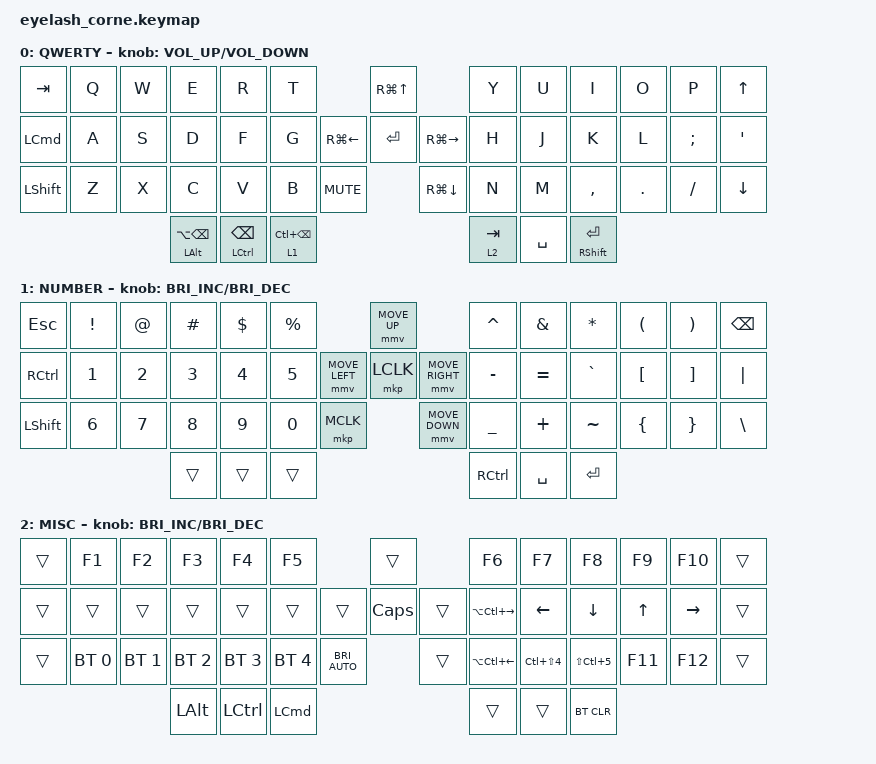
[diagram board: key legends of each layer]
#include <dt-bindings/zmk/mouse.h>
#include <input/processors.dtsi>
#include <behaviors.dtsi>
#include <dt-bindings/zmk/bt.h>
#include <dt-bindings/zmk/keys.h>
#include <dt-bindings/zmk/pointing.h>
#include <dt-bindings/zmk/rgb.h>

/*

   &mmv_input_listener {
       input-processors = <&zip_xy_scaler 2 1>;
   };

   &msc_input_listener {
       input-processors = <&zip_xy_scaler 2 1>;
   };

 */

#define ZMK_MOUSE_DEFAULT_MOVE_VAL 1200  // 600
#define ZMK_MOUSE_DEFAULT_SCRL_VAL 20    // 10

&lt { flavor = "hold-preferred"; };

};

/ {

behaviors {
    td0: td0 {
        compatible = "zmk,behavior-tap-dance";
        display-name = "Shift/Caps Lock Tap Dance";
        #binding-cells = <0>;
        bindings = <&kp LEFT_SHIFT>, <&kp CAPS>;
    };
};

rgb_encoder: rgb_encoder {
    compatible = "zmk,behavior-sensor-rotate";
    #sensor-binding-cells = <0>;
    bindings = <&rgb_ug RGB_BRI>, <&rgb_ug RGB_BRD>;
};

scroll_encoder: scroll_encoder {
    compatible = "zmk,behavior-sensor-rotate";
    #sensor-binding-cells = <0>;
    bindings = <&msc SCRL_DOWN>, <&msc SCRL_UP>;

    tap-ms = <30>;
};

keymap {
    compatible = "zmk,keymap";

    default_layer {
        display-name = "QWERTY";
        bindings = <
&kp TAB           &kp Q  &kp W  &kp E                       &kp R                &kp T                                            &kp RG(UP)                   &kp Y      &kp U      &kp I                &kp O    &kp P     &kp UP_ARROW
&kp LEFT_COMMAND  &kp A  &kp S  &kp D                       &kp F                &kp G                              &kp RG(LEFT)  &kp ENTER     &kp RG(RIGHT)  &kp H      &kp J      &kp K                &kp L    &kp SEMI  &kp SQT
&kp LEFT_SHIFT    &kp Z  &kp X  &kp C                       &kp V                &kp B                &kp K_MUTE                  &kp RG(DOWN)                 &kp N      &kp M      &kp COMMA            &kp DOT  &kp FSLH  &kp DOWN
                                &mt LEFT_ALT LA(BACKSPACE)  &mt LCTRL BACKSPACE  &lt 1 LC(BACKSPACE)                                                           &lt 2 TAB  &kp SPACE  &mt RIGHT_SHIFT RET
        >;

        sensor-bindings = <&inc_dec_kp C_VOLUME_UP C_VOLUME_DOWN>;
    };

    lower_layer {
        display-name = "NUMBER";
        bindings = <
&kp ESC         &kp EXCLAMATION  &kp AT  &kp HASH  &kp DOLLAR  &kp PERCENT                               &mmv MOVE_UP                     &kp CARET          &kp AMPERSAND  &kp ASTERISK  &kp LEFT_PARENTHESIS  &kp RIGHT_PARENTHESIS  &kp BACKSPACE
&kp RCTRL       &kp N1           &kp N2  &kp N3    &kp N4      &kp N5                    &mmv MOVE_LEFT  &mkp LCLK       &mmv MOVE_RIGHT  &kp MINUS          &kp EQUAL      &kp GRAVE     &kp LEFT_BRACKET      &kp RIGHT_BRACKET      &kp PIPE
&kp LEFT_SHIFT  &kp NUMBER_6     &kp N7  &kp N8    &kp N9      &kp N0       &mkp MCLK                    &mmv MOVE_DOWN                   &kp UNDERSCORE     &kp PLUS       &kp TILDE     &kp LEFT_BRACE        &kp RIGHT_BRACE        &kp BACKSLASH
                                         &trans    &trans      &trans                                                                     &kp RIGHT_CONTROL  &kp SPACE      &kp ENTER
        >;

        sensor-bindings = <&inc_dec_kp C_BRIGHTNESS_INC C_BRIGHTNESS_DEC>;
    };

    raise_layer {
        display-name = "MISC";
        bindings = <
&trans  &kp F1        &kp F2        &kp F3        &kp F4        &kp F5                                             &trans            &kp F6             &kp F7                &kp F8          &kp F9   &kp F10    &trans
&trans  &trans        &trans        &trans        &trans        &trans                                     &trans  &kp CAPS  &trans  &kp LA(LC(RIGHT))  &kp LEFT              &kp DOWN        &kp UP   &kp RIGHT  &trans
&trans  &bt BT_SEL 0  &bt BT_SEL 1  &bt BT_SEL 2  &bt BT_SEL 3  &bt BT_SEL 4      &kp C_BRIGHTNESS_AUTO            &trans            &kp LA(LC(LEFT))   &kp LC(LS(NUMBER_4))  &kp LS(LC(N5))  &kp F11  &kp F12    &trans
                                    &kp LEFT_ALT  &kp LCTRL     &kp LEFT_COMMAND                                                     &trans             &trans                &bt BT_CLR
        >;

        sensor-bindings = <&inc_dec_kp C_BRIGHTNESS_INC C_BRIGHTNESS_DEC>;
    };
};

};
